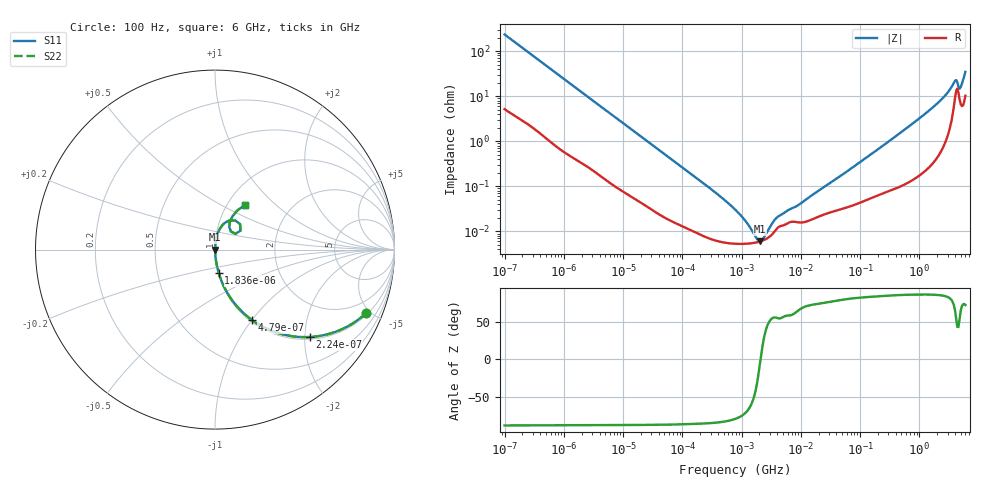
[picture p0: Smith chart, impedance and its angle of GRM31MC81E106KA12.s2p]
!Murata Part Number: GRM31MC81E106KA12
!These Parameters are Measured in Series Mode Connection
!Data Generated on Mar 30, 2021
!  o--ll--o
!Port1  Port2
!  o------o
!Operation Temp=25[degC], DC Bias Voltage=0[V]
!Freq. Start=100[Hz] Stop=6[GHz] 401[Steps]
# Hz S RI R 50
!Freq.(Hz) S11(Real) S11(Imag) S21(Real) S21(Imag) S12(Real) S12(Imag) S22(Real) S22(Imag)
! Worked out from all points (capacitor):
!   401 points, 100 Hz to 6 GHz, reference 50 ohm
!   read as one part in series: C = 6.78 uF near 109 Hz
!   lowest |Z| = 6.01 mohm at 2.074 MHz (marker M1)
!   series resonance near 2.09 MHz, so ESL is about 860 pH
!   S11 on the Smith chart (normalised r, x): 100 Hz: 1.10, -4.67; 224 Hz: 1.05, -2.11; 479 Hz: 1.02, -1.00; 1.836 kHz: 1.01, -0.27; 6 GHz: 1.20, +0.66
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100  0.8399 -0.3559  0.1601 0.3559  0.1601 0.3559  0.8399 -0.3559
224  0.5269 -0.4871  0.4731 0.4871  0.4731 0.4871  0.5269 -0.4871
479  0.2059 -0.3924  0.7941 0.3924  0.7941 0.3924  0.2059 -0.3924
858  0.0787 -0.2578  0.9213 0.2578  0.9213 0.2578  0.0787 -0.2578
1836  0.0207 -0.1298  0.9793 0.1298  0.9793 0.1298  0.0207 -0.1298
2008  0.0177 -0.1192  0.9823 0.1192  0.9823 0.1192  0.0177 -0.1192
6433  0.00261 -0.0387  0.9974 0.0387  0.9974 0.0387  0.00261 -0.0387
40335  0.000281 -0.00641  0.9997 0.00641  0.9997 0.00641  0.000281 -0.00641
316350  6.71e-05 -0.000835  0.9999 0.000835  0.9999 0.000835  6.71e-05 -0.000835
774597  5.33e-05 -0.000304  0.9999 0.000304  0.9999 0.000304  5.33e-05 -0.000304
1516199  5.5e-05 -8.57e-05  0.9999 8.57e-05  0.9999 8.57e-05  5.5e-05 -8.57e-05
2074311  6.01e-05 -2e-06  0.9999 2e-06  0.9999 2e-06  6.01e-05 -2e-06
2713602  7.04e-05 7.01e-05  0.9999 -7.01e-05  0.9999 -7.01e-05  7.04e-05 7.01e-05
4060267  0.00012 0.000173  0.9999 -0.000173  0.9999 -0.000173  0.00012 0.000173
1.555665e7  0.000186 0.000614  0.9998 -0.000614  0.9998 -0.000614  0.000186 0.000614
3.124326e8  0.000888 0.0101  0.9991 -0.0101  0.9991 -0.0101  0.000888 0.0101
1.791126e9  0.00709 0.0594  0.9929 -0.0594  0.9929 -0.0594  0.00709 0.0594
3.065283e9  0.0283 0.1179  0.9717 -0.1179  0.9717 -0.1179  0.0283 0.1179
3.8344e9  0.0848 0.1631  0.9152 -0.1631  0.9152 -0.1631  0.0848 0.1631
4.385646e9  0.1417 0.105  0.8583 -0.105  0.8583 -0.105  0.1417 0.105
5.016141e9  0.0794 0.1263  0.9206 -0.1263  0.9206 -0.1263  0.0794 0.1263
6e9  0.1679 0.2502  0.8321 -0.2502  0.8321 -0.2502  0.1679 0.2502
